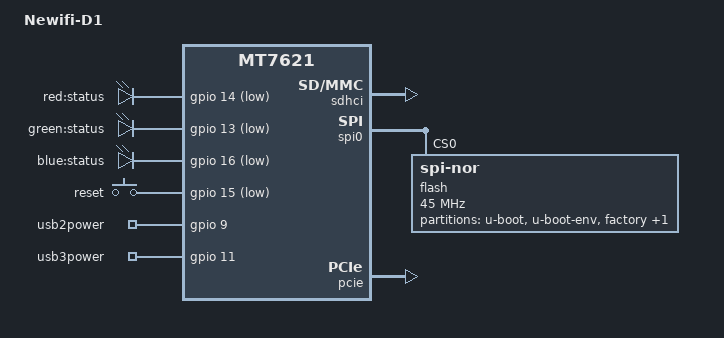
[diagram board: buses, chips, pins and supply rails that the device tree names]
#include "mt7621.dtsi"

#include <dt-bindings/gpio/gpio.h>
#include <dt-bindings/input/input.h>

/ {
	compatible = "lenovo,newifi-d1", "mediatek,mt7621-soc";
	model = "Newifi-D1";

	aliases {
		led-boot = &led_blue;
		led-failsafe = &led_blue;
		led-running = &led_blue;
		led-upgrade = &led_blue;
		label-mac-device = &gmac0;
	};

	chosen {
		bootargs = "console=ttyS0,115200";
	};

	leds {
		compatible = "gpio-leds";

		status-red {
			label = "red:status";
			gpios = <&gpio 14 GPIO_ACTIVE_LOW>;
		};

		status-green {
			label = "green:status";
			gpios = <&gpio 13 GPIO_ACTIVE_LOW>;
		};

		led_blue: status-blue {
			label = "blue:status";
			gpios = <&gpio 16 GPIO_ACTIVE_LOW>;
			default-state = "on";
		};
	};

	keys {
		compatible = "gpio-keys";

		reset {
			label = "reset";
			gpios = <&gpio 15 GPIO_ACTIVE_LOW>;
			linux,code = <KEY_RESTART>;
		};
	};

	gpio_export {
		compatible = "gpio-export";
		#size-cells = <0>;

		usb2power {
			gpio-export,name = "usb2power";
			gpio-export,output = <1>;
			gpios = <&gpio 9 GPIO_ACTIVE_HIGH>;
		};

		usb3power {
			gpio-export,name = "usb3power";
			gpio-export,output = <1>;
			gpios = <&gpio 11 GPIO_ACTIVE_HIGH>;
		};
	};
};

&sdhci {
	status = "okay";
};

&spi0 {
	status = "okay";

	flash@0 {
		compatible = "jedec,spi-nor";
		reg = <0>;
		spi-max-frequency = <45000000>;
		broken-flash-reset;

		partitions {
			compatible = "fixed-partitions";
			#address-cells = <1>;
			#size-cells = <1>;

			partition@0 {
				label = "u-boot";
				reg = <0x0 0x30000>;
				read-only;
			};

			partition@30000 {
				label = "u-boot-env";
				reg = <0x30000 0x10000>;
				read-only;
			};

			factory: partition@40000 {
				label = "factory";
				reg = <0x40000 0x10000>;
				read-only;
			};

			partition@50000 {
				compatible = "denx,uimage";
				label = "firmware";
				reg = <0x50000 0x1fb0000>;
			};
		};
	};
};

&pcie {
	status = "okay";
};

&pcie0 {
	mt76@0,0 {
		reg = <0x0000 0 0 0 0>;
		mediatek,mtd-eeprom = <&factory 0x8000>;
		ieee80211-freq-limit = <5000000 6000000>;
	};
};

&pcie1 {
	mt76@0,0 {
		reg = <0x0000 0 0 0 0>;
		mediatek,mtd-eeprom = <&factory 0x0000>;
	};
};

&gmac0 {
	mtd-mac-address = <&factory 0xe000>;
};

&switch0 {
	ports {
		port@1 {
			status = "okay";
			label = "lan2";
		};

		port@2 {
			status = "okay";
			label = "lan1";
		};

		port@4 {
			status = "okay";
			label = "wan";
			mtd-mac-address = <&factory 0xe006>;
		};
	};
};

&state_default {
	gpio {
		groups = "jtag", "uart2";
		function = "gpio";
	};
};
